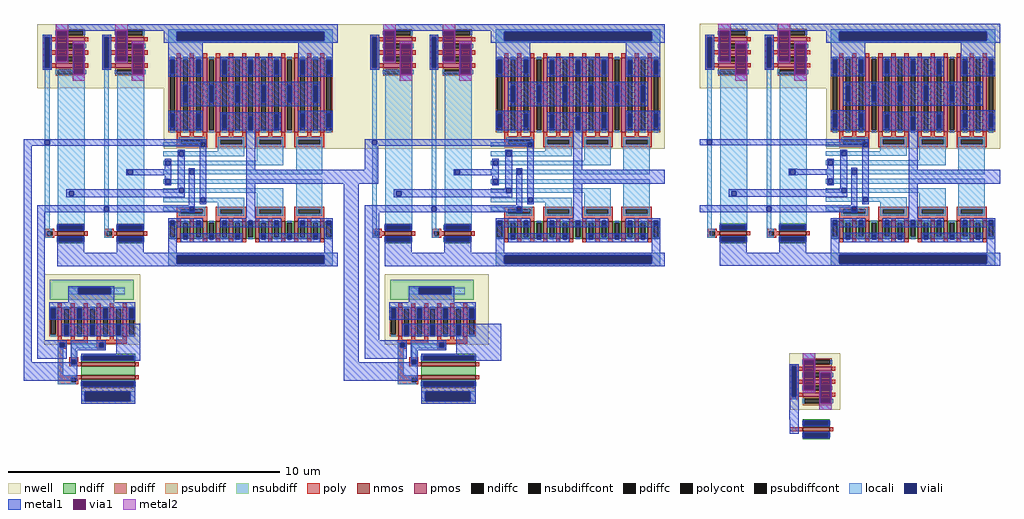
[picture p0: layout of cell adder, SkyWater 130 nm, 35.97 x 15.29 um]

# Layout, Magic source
magic
tech sky130B
magscale 1 2
<< nwell >>
rect 2214 864 3345 1783
rect 3268 -580 3329 -60
<< metal1 >>
rect -97 888 0 933
rect -97 -711 -40 888
rect 2413 710 2514 897
rect 2214 607 2514 710
rect 0 -682 57 395
rect 2261 -711 2370 607
rect 2413 -547 2522 395
rect 2413 -682 2562 -547
rect 2413 -683 2522 -682
rect 3268 -700 3420 -426
rect -97 -847 54 -711
rect 2261 -847 2566 -711
use inv  inv_0 ~/Documents/Dersler/VLSI/vlsi_sky130b/design/mag/inv
transform 1 0 5543 0 1 -1061
box 0 -250 376 418
use NAND2  NAND2_0 ~/Documents/Dersler/VLSI/vlsi_sky130b/design/mag/NAND/NAND2
transform 1 0 2206 0 1 -952
box 356 -63 1062 892
use NAND2  NAND2_1
transform 1 0 -302 0 1 -952
box 356 -63 1062 892
use xor  xor_0 ~/Documents/Dersler/VLSI/vlsi_sky130b/design/mag/CG4
transform 1 0 902 0 1 112
box -902 -112 1312 1671
use xor  xor_1
transform 1 0 3315 0 1 112
box -902 -112 1312 1671
use xor  xor_2
transform 1 0 5785 0 1 113
box -902 -112 1312 1671
<< end >>

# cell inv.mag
magic
tech sky130B
magscale 1 2
<< poly >>
rect 3 -156 75 -126
<< metal1 >>
rect 3 0 69 80
rect 0 -68 69 0
rect 3 -175 69 -68
use efepmos_W107-L15-F3  efepmos_W107-L15-F3_0
transform 0 1 207 -1 0 209
box -209 -207 209 169
use sky130_fd_pr__nfet_01v8_6H9P4D  sky130_fd_pr__nfet_01v8_6H9P4D_0
transform 0 1 200 -1 0 -141
box -73 -126 73 126
<< end >>

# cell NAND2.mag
magic
tech sky130B
magscale 1 2
<< nwell >>
rect 356 372 1062 892
<< nmos >>
rect 626 212 1026 242
rect 626 116 1026 146
<< pmos >>
rect 454 434 484 648
rect 550 434 580 648
rect 646 434 676 648
rect 742 434 772 648
rect 838 434 868 648
rect 934 434 964 648
<< ndiff >>
rect 626 292 1026 304
rect 626 258 638 292
rect 1014 258 1026 292
rect 626 242 1026 258
rect 626 146 1026 212
rect 626 100 1026 116
rect 626 66 638 100
rect 1014 66 1026 100
rect 626 54 1026 66
<< pdiff >>
rect 392 636 454 648
rect 392 446 404 636
rect 438 446 454 636
rect 392 434 454 446
rect 484 636 550 648
rect 484 446 500 636
rect 534 446 550 636
rect 484 434 550 446
rect 580 636 646 648
rect 580 446 596 636
rect 630 446 646 636
rect 580 434 646 446
rect 676 636 742 648
rect 676 446 692 636
rect 726 446 742 636
rect 676 434 742 446
rect 772 636 838 648
rect 772 446 788 636
rect 822 446 838 636
rect 772 434 838 446
rect 868 636 934 648
rect 868 446 884 636
rect 918 446 934 636
rect 868 434 934 446
rect 964 636 1026 648
rect 964 446 980 636
rect 1014 446 1026 636
rect 964 434 1026 446
<< ndiffc >>
rect 638 258 1014 292
rect 638 66 1014 100
<< pdiffc >>
rect 404 446 438 636
rect 500 446 534 636
rect 596 446 630 636
rect 692 446 726 636
rect 788 446 822 636
rect 884 446 918 636
rect 980 446 1014 636
<< psubdiff >>
rect 626 30 1026 54
rect 626 -44 653 30
rect 988 -44 1026 30
rect 626 -63 1026 -44
<< nsubdiff >>
rect 396 791 1013 852
rect 396 744 606 791
rect 846 744 1013 791
rect 396 702 1013 744
<< psubdiffcont >>
rect 653 -44 988 30
<< nsubdiffcont >>
rect 606 744 846 791
<< poly >>
rect 454 648 484 679
rect 550 648 580 679
rect 646 648 676 679
rect 742 648 772 679
rect 838 648 868 679
rect 934 648 964 679
rect 454 408 484 434
rect 550 408 580 434
rect 646 408 676 434
rect 453 387 676 408
rect 453 352 470 387
rect 504 378 676 387
rect 742 408 772 434
rect 838 408 868 434
rect 934 408 964 434
rect 742 387 964 408
rect 504 352 520 378
rect 453 341 520 352
rect 742 352 759 387
rect 793 378 964 387
rect 793 352 809 378
rect 742 341 809 352
rect 453 146 496 341
rect 538 263 604 279
rect 538 228 554 263
rect 588 242 604 263
rect 588 228 626 242
rect 538 212 626 228
rect 1026 212 1052 242
rect 453 130 626 146
rect 453 95 554 130
rect 588 116 626 130
rect 1026 116 1052 146
rect 588 95 604 116
rect 453 79 604 95
<< polycont >>
rect 470 352 504 387
rect 759 352 793 387
rect 554 228 588 263
rect 554 95 588 130
<< locali >>
rect 532 744 606 791
rect 846 744 946 791
rect 404 642 438 652
rect 404 430 438 446
rect 500 636 534 652
rect 500 430 534 440
rect 596 642 630 652
rect 596 430 630 446
rect 692 636 726 652
rect 692 430 726 440
rect 788 642 822 652
rect 788 430 822 446
rect 884 636 918 652
rect 884 430 918 440
rect 980 642 1014 652
rect 980 430 1014 446
rect 453 352 470 387
rect 504 352 520 387
rect 742 381 759 387
rect 554 352 759 381
rect 793 352 809 387
rect 453 146 496 352
rect 554 347 809 352
rect 554 263 588 347
rect 622 258 638 292
rect 1014 258 1030 292
rect 554 212 588 228
rect 453 130 588 146
rect 453 95 554 130
rect 453 79 588 95
rect 622 66 638 100
rect 1014 66 1030 100
rect 626 -44 653 30
rect 988 -44 1026 30
<< viali >>
rect 606 744 846 791
rect 404 636 438 642
rect 404 562 438 636
rect 500 446 534 520
rect 500 440 534 446
rect 596 636 630 642
rect 596 562 630 636
rect 692 446 726 520
rect 692 440 726 446
rect 788 636 822 642
rect 788 562 822 636
rect 884 446 918 520
rect 884 440 918 446
rect 980 636 1014 642
rect 980 562 1014 636
rect 470 352 504 387
rect 759 352 793 387
rect 554 228 588 263
rect 638 258 1014 292
rect 638 66 1014 100
rect 653 -44 988 25
<< metal1 >>
rect 532 791 869 803
rect 532 744 606 791
rect 846 744 869 791
rect 532 684 869 744
rect 391 648 1025 684
rect 391 642 1026 648
rect 391 562 404 642
rect 438 562 596 642
rect 630 562 788 642
rect 822 562 980 642
rect 1014 562 1026 642
rect 391 556 1026 562
rect 391 555 1025 556
rect 484 520 1062 526
rect 484 440 500 520
rect 534 440 692 520
rect 726 440 884 520
rect 918 440 1062 520
rect 484 434 1062 440
rect 356 387 520 405
rect 356 352 470 387
rect 504 352 520 387
rect 356 270 520 352
rect 548 387 808 406
rect 548 352 759 387
rect 793 352 808 387
rect 548 332 808 352
rect 548 263 598 332
rect 884 304 1062 434
rect 548 241 554 263
rect 356 228 554 241
rect 588 228 598 263
rect 626 292 1062 304
rect 626 258 638 292
rect 1014 258 1062 292
rect 626 252 1062 258
rect 356 105 598 228
rect 626 100 1026 106
rect 626 66 638 100
rect 1014 66 1026 100
rect 626 25 1026 66
rect 626 -44 653 25
rect 988 -44 1026 25
rect 626 -63 1026 -44
<< end >>

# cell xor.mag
magic
tech sky130B
magscale 1 2
<< nwell >>
rect -902 1668 1312 1671
rect -902 1199 756 1668
<< locali >>
rect -845 816 -811 1333
rect -845 95 -811 782
rect -750 440 -550 1335
rect -750 406 -667 440
rect -633 406 -550 440
rect -750 189 -550 406
rect -407 325 -373 1333
rect -407 95 -373 291
rect -312 597 -112 1316
rect 242 699 276 733
rect 144 631 178 665
rect 347 631 381 665
rect -312 563 -233 597
rect -199 563 -112 597
rect 44 563 78 597
rect -312 189 -112 563
rect 347 495 381 529
rect 151 359 185 393
rect 44 291 78 325
<< viali >>
rect -845 782 -811 816
rect -667 406 -633 440
rect -407 291 -373 325
rect 302 767 336 801
rect 144 699 178 733
rect 46 631 80 665
rect -233 563 -199 597
rect 221 563 255 597
rect 46 495 80 529
rect 144 427 178 461
rect 304 359 338 393
rect 221 291 255 325
<< metal1 >>
rect -673 1668 1312 1671
rect -764 1623 1312 1668
rect -851 821 -801 822
rect -902 816 343 821
rect -902 782 -845 816
rect -811 813 343 816
rect -811 801 344 813
rect -811 782 302 801
rect -902 776 302 782
rect 296 767 302 776
rect 336 767 344 801
rect 135 733 187 745
rect 135 699 144 733
rect 178 699 187 733
rect 40 665 88 677
rect 40 631 46 665
rect 80 631 88 665
rect -245 602 -183 603
rect 40 602 88 631
rect -245 597 88 602
rect -245 563 -233 597
rect -199 563 88 597
rect -245 558 88 563
rect -245 557 -183 558
rect 40 529 88 558
rect 40 495 46 529
rect 80 495 88 529
rect 40 483 88 495
rect 135 461 187 699
rect 135 453 144 461
rect -688 440 144 453
rect -688 406 -667 440
rect -633 427 144 440
rect 178 427 187 461
rect -633 406 187 427
rect -688 396 187 406
rect 215 597 261 610
rect 215 563 221 597
rect 255 563 261 597
rect 215 336 261 563
rect 296 393 344 767
rect 296 359 304 393
rect 338 359 344 393
rect 296 342 344 359
rect -902 325 261 336
rect -902 291 -407 325
rect -373 291 221 325
rect 255 291 261 325
rect -902 283 261 291
rect 215 279 261 283
rect -754 -15 -554 61
rect -316 -15 -116 68
rect -754 -112 54 -15
use CG4  CG4_0
transform 1 0 28 0 1 746
box 1 -858 1284 922
use efepmos_W107-L15-F3  efepmos_W107-L15-F3_0 ~/Documents/Dersler/VLSI/vlsi_sky130b/design/mag/inv
transform 0 1 -219 -1 0 1462
box -209 -207 209 169
use efepmos_W107-L15-F3  efepmos_W107-L15-F3_1
transform 0 1 -657 -1 0 1462
box -209 -207 209 169
use sky130_fd_pr__nfet_01v8_5D68BK  sky130_fd_pr__nfet_01v8_5D68BK_0
transform 0 -1 -247 1 0 128
box -73 -157 73 157
use sky130_fd_pr__nfet_01v8_BQTKEQ  sky130_fd_pr__nfet_01v8_BQTKEQ_0
transform 0 1 -685 -1 0 128
box -73 -157 73 157
<< labels >>
rlabel metal1 -902 317 -902 317 3 B
port 1 e
rlabel metal1 -902 797 -902 797 3 A
port 2 e
<< end >>

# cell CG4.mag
magic
tech sky130B
magscale 1 2
<< nwell >>
rect 2 715 1284 922
<< psubdiff >>
rect 38 -777 1248 -761
rect 38 -843 100 -777
rect 1186 -843 1248 -777
rect 38 -858 1248 -843
<< nsubdiff >>
rect 38 869 1248 886
rect 38 803 100 869
rect 1186 803 1248 869
rect 38 787 1248 803
<< psubdiffcont >>
rect 100 -843 1186 -777
<< nsubdiffcont >>
rect 100 803 1186 869
<< locali >>
rect 38 869 1248 886
rect 38 803 100 869
rect 1186 803 1248 869
rect 38 787 1248 803
rect 1 21 308 55
rect 402 -13 596 24
rect 1 -47 596 -13
rect 690 -81 884 24
rect 1 -115 884 -81
rect 978 -149 1172 24
rect 1 -183 1172 -149
rect 1 -251 1172 -217
rect 1 -319 884 -285
rect 1 -387 596 -353
rect 1 -455 308 -421
rect 402 -428 596 -387
rect 690 -424 884 -319
rect 978 -424 1172 -251
rect 38 -777 1248 -761
rect 38 -843 100 -777
rect 1186 -843 1248 -777
rect 38 -858 1248 -843
<< viali >>
rect 100 803 1186 869
rect 50 559 84 661
rect 242 559 276 661
rect 434 557 468 659
rect 626 556 660 658
rect 818 556 852 658
rect 1010 556 1044 658
rect 1202 556 1236 658
rect 146 351 180 475
rect 338 351 372 475
rect 530 351 564 475
rect 722 351 756 475
rect 914 351 948 475
rect 1106 350 1140 474
rect 50 164 84 266
rect 242 164 276 266
rect 434 158 468 260
rect 626 141 660 243
rect 818 158 852 260
rect 1010 165 1044 267
rect 1202 165 1236 267
rect 50 -557 84 -523
rect 242 -557 276 -523
rect 434 -557 468 -523
rect 626 -557 660 -523
rect 818 -557 852 -523
rect 1010 -557 1044 -523
rect 1202 -557 1236 -523
rect 146 -661 180 -627
rect 338 -661 372 -627
rect 530 -662 564 -628
rect 722 -661 756 -627
rect 914 -661 948 -627
rect 1106 -661 1140 -627
rect 100 -843 1186 -777
<< metal1 >>
rect 2 869 1284 886
rect 2 803 100 869
rect 1186 803 1284 869
rect 2 787 1284 803
rect 38 661 292 787
rect 38 559 50 661
rect 84 559 242 661
rect 276 559 292 661
rect 38 538 292 559
rect 418 659 868 685
rect 418 557 434 659
rect 468 658 868 659
rect 468 557 626 658
rect 418 556 626 557
rect 660 556 818 658
rect 852 556 868 658
rect 418 538 868 556
rect 994 658 1248 787
rect 994 556 1010 658
rect 1044 556 1202 658
rect 1236 556 1248 658
rect 994 538 1248 556
rect 130 475 1156 500
rect 130 351 146 475
rect 180 351 338 475
rect 372 351 530 475
rect 564 351 722 475
rect 756 351 914 475
rect 948 474 1156 475
rect 948 351 1106 474
rect 130 350 1106 351
rect 1140 350 1156 474
rect 130 321 1156 350
rect 38 266 292 288
rect 38 164 50 266
rect 84 164 242 266
rect 276 164 292 266
rect 38 141 292 164
rect 418 260 867 277
rect 418 158 434 260
rect 468 243 818 260
rect 468 158 626 243
rect 418 141 626 158
rect 660 158 818 243
rect 852 158 867 260
rect 660 141 867 158
rect 994 267 1249 288
rect 994 165 1010 267
rect 1044 165 1202 267
rect 1236 165 1249 267
rect 994 141 1249 165
rect 610 -148 676 141
rect 610 -251 1284 -148
rect 610 -505 676 -251
rect 38 -523 292 -505
rect 38 -557 50 -523
rect 84 -557 242 -523
rect 276 -557 292 -523
rect 38 -573 292 -557
rect 418 -523 868 -505
rect 418 -557 434 -523
rect 468 -557 626 -523
rect 660 -557 818 -523
rect 852 -557 868 -523
rect 418 -573 868 -557
rect 994 -523 1248 -505
rect 994 -557 1010 -523
rect 1044 -557 1202 -523
rect 1236 -557 1248 -523
rect 994 -573 1248 -557
rect 38 -761 100 -573
rect 130 -627 580 -615
rect 130 -661 146 -627
rect 180 -661 338 -627
rect 372 -628 580 -627
rect 372 -661 530 -628
rect 130 -662 530 -661
rect 564 -662 580 -628
rect 130 -683 580 -662
rect 706 -627 1156 -615
rect 706 -661 722 -627
rect 756 -661 914 -627
rect 948 -661 1106 -627
rect 1140 -661 1156 -627
rect 706 -683 1156 -661
rect 1186 -761 1248 -573
rect 2 -777 1284 -761
rect 2 -843 100 -777
rect 1186 -843 1284 -777
rect 2 -858 1284 -843
use nfet_3_200_15  nfet_3_200_15_0
transform -1 0 211 0 -1 -592
box -173 -170 173 91
use nfet_3_200_15  nfet_3_200_15_1
transform -1 0 499 0 -1 -592
box -173 -170 173 91
use nfet_3_200_15  nfet_3_200_15_2
transform -1 0 1075 0 -1 -592
box -173 -170 173 91
use nfet_3_200_15  nfet_3_200_15_3
transform -1 0 787 0 -1 -592
box -173 -170 173 91
use pfet_3_825_15  pfet_3_825_15_0
transform 1 0 211 0 1 404
box -209 -398 209 311
use pfet_3_825_15  pfet_3_825_15_1
transform 1 0 499 0 1 404
box -209 -398 209 311
use pfet_3_825_15  pfet_3_825_15_2
transform 1 0 787 0 1 404
box -209 -398 209 311
use pfet_3_825_15  pfet_3_825_15_3
transform 1 0 1075 0 1 404
box -209 -398 209 311
<< labels >>
flabel metal1 602 818 756 870 1 FreeSerif 80 0 0 0 VDD
port 1 n
flabel metal1 592 -835 746 -783 1 FreeSerif 80 0 0 0 VSS
port 2 n
flabel locali 13 -243 34 -223 1 FreeSerif 80 0 0 0 N1
port 3 n
flabel locali 12 -311 33 -291 1 FreeSerif 80 0 0 0 N2
port 4 n
flabel locali 12 -380 33 -360 1 FreeSerif 80 0 0 0 N3
port 5 n
flabel locali 12 -448 33 -428 1 FreeSerif 80 0 0 0 N4
port 6 n
flabel locali 13 -177 34 -157 1 FreeSerif 80 0 0 0 P1
port 7 n
flabel locali 13 -108 34 -88 1 FreeSerif 80 0 0 0 P2
port 8 n
flabel locali 13 -39 34 -19 1 FreeSerif 80 0 0 0 P3
port 9 n
flabel locali 13 28 34 48 1 FreeSerif 80 0 0 0 P4
port 10 n
flabel metal1 1183 -228 1257 -164 1 FreeSerif 80 0 0 0 OUT
port 11 n
<< end >>

# cell efepmos_W107-L15-F3: kit device sky130_fd_pr__pfet_01v8, w 1.07 l 0.15 m 1 nf 3 diffcov 100 polycov 100 guard 0 glc 1 grc 1 gtc 1 gbc 1 tbcov 100 rlcov 100 topc 0 botc 0 poverlap 0 doverlap 1 lmin 0.15 wmin 0.42 compatible {sky130_fd_pr__pfet_01v8 sky130_fd_pr__pfet_01v8_lvt sky130_fd_pr__pfet_01v8_hvt sky130_fd_pr__pfet_g5v0d10v5} full_metal 1 viasrc 100 viadrn 100 viagate 100 viagb 0 viagr 0 viagl 0 viagt 0

# cell sky130_fd_pr__nfet_01v8_5D68BK: kit device sky130_fd_pr__nfet_01v8, w 1 l 0.150 m 1 nf 1 diffcov 100 polycov 100 guard 0 glc 1 grc 1 gtc 1 gbc 1 tbcov 100 rlcov 100 topc 1 botc 0 poverlap 0 doverlap 1 lmin 0.15 wmin 0.42 compatible {sky130_fd_pr__nfet_01v8 sky130_fd_pr__nfet_01v8_lvt sky130_fd_bs_flash__special_sonosfet_star sky130_fd_pr__nfet_g5v0d10v5 sky130_fd_pr__nfet_05v0_nvt sky130_fd_pr__nfet_03v3_nvt} full_metal 1 viasrc 100 viadrn 100 viagate 0 viagb 0 viagr 0 viagl 0 viagt 0

# cell sky130_fd_pr__nfet_01v8_BQTKEQ: kit device sky130_fd_pr__nfet_01v8, w 1 l 0.150 m 1 nf 1 diffcov 100 polycov 100 guard 0 glc 1 grc 1 gtc 1 gbc 1 tbcov 100 rlcov 100 topc 0 botc 1 poverlap 0 doverlap 1 lmin 0.15 wmin 0.42 compatible {sky130_fd_pr__nfet_01v8 sky130_fd_pr__nfet_01v8_lvt sky130_fd_bs_flash__special_sonosfet_star sky130_fd_pr__nfet_g5v0d10v5 sky130_fd_pr__nfet_05v0_nvt sky130_fd_pr__nfet_03v3_nvt} full_metal 1 viasrc 100 viadrn 100 viagate 0 viagb 0 viagr 0 viagl 0 viagt 0

# cell nfet_3_200_15: kit device sky130_fd_pr__nfet_01v8, w 0.65 l 0.150 m 1 nf 3 diffcov 100 polycov 100 guard 0 glc 1 grc 1 gtc 1 gbc 1 tbcov 100 rlcov 100 topc 1 botc 0 poverlap 0 doverlap 1 lmin 0.15 wmin 0.42 class mosfet compatible {sky130_fd_pr__nfet_01v8 sky130_fd_pr__nfet_01v8_lvt sky130_fd_bs_flash__special_sonosfet_star sky130_fd_pr__nfet_g5v0d10v5 sky130_fd_pr__nfet_05v0_nvt sky130_fd_pr__nfet_03v3_nvt} full_metal 1 viasrc 100 viadrn 100 viagate 100 viagb 0 viagr 0 viagl 0 viagt 0

# cell pfet_3_825_15: kit device sky130_fd_pr__pfet_01v8, w 2.75 l 0.15 m 1 nf 3 diffcov 100 polycov 100 guard 0 glc 1 grc 1 gtc 1 gbc 1 tbcov 100 rlcov 100 topc 1 botc 0 poverlap 0 doverlap 1 lmin 0.15 wmin 0.42 class mosfet compatible {sky130_fd_pr__pfet_01v8 sky130_fd_pr__pfet_01v8_lvt sky130_fd_pr__pfet_01v8_hvt sky130_fd_pr__pfet_g5v0d10v5} full_metal 1 viasrc 100 viadrn 100 viagate 100 viagb 0 viagr 0 viagl 0 viagt 0

# cell sky130_fd_pr__nfet_01v8_6H9P4D: kit device sky130_fd_pr__nfet_01v8, w 1 l 0.150 m 1 nf 1 diffcov 100 polycov 100 guard 0 glc 1 grc 1 gtc 1 gbc 1 tbcov 100 rlcov 100 topc 0 botc 0 poverlap 0 doverlap 1 lmin 0.15 wmin 0.42 compatible {sky130_fd_pr__nfet_01v8 sky130_fd_pr__nfet_01v8_lvt sky130_fd_bs_flash__special_sonosfet_star sky130_fd_pr__nfet_g5v0d10v5 sky130_fd_pr__nfet_05v0_nvt sky130_fd_pr__nfet_03v3_nvt} full_metal 1 viasrc 100 viadrn 100 viagate 100 viagb 0 viagr 0 viagl 0 viagt 0
